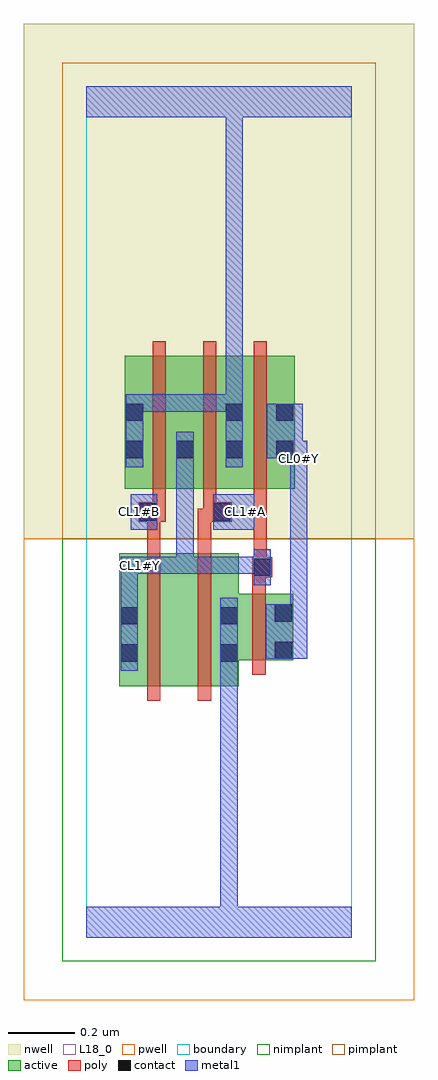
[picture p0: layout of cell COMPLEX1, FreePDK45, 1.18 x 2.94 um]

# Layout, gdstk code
import gdstk
lib = gdstk.Library(unit=1e-6, precision=1e-09)
def R(c, l, rs):  # rectangles x0, y0, x1, y1
    for r in rs: c.add(gdstk.rectangle(r[:2], r[2:], *l))
def A(c, l, x, y, w, h, nx, ny, dx, dy):  # array of equal rectangles
    R(c, l, [(x+i*dx, y+j*dy, x+i*dx+w, y+j*dy+h) for i in range(nx) for j in range(ny)])
active = (1, 0)
pwell = (2, 0)
nwell = (3, 0)
nimplant = (4, 0)
pimplant = (5, 0)
poly = (9, 0)
contact = (10, 0)
metal1 = (11, 0)
L18_0 = (18, 0)
boundary = (235, 0)

complex1 = lib.new_cell('COMPLEX1')
R(complex1, active, [(0.1,0.756,0.28,1.156), (0.1,0.756,0.16,1.156), (0.28,0.756,0.46,1.156), (0.4,0.756,0.46,0.998), (0.4,0.834,0.624,1.034), (0.564,0.834,0.624,1.034), (0.116,1.35,0.176,1.644), (0.116,1.35,0.328,1.75), (0.268,1.35,0.328,1.644), (0.268,1.35,0.476,1.75), (0.416,1.35,0.476,1.75), (0.416,1.35,0.628,1.75), (0.568,1.35,0.628,1.644)])
R(complex1, pwell, [(-0.188,-0.188,0.988,1.2)])
R(complex1, nwell, [(-0.188,1.2,0.988,2.748)])
R(complex1, nimplant, [(-0.072,-0.072,0.872,1.2)])
R(complex1, pimplant, [(-0.072,1.2,0.872,2.632)])
A(complex1, poly, 0.2, 1.306, 0.04, 0.488, 3, 1, 0.152, 0)
R(complex1, poly, [(0.184,0.712,0.224,1.2), (0.336,0.712,0.376,1.2), (0.5,0.79,0.54,1.078), (0.5,1.038,0.54,1.124), (0.5,1.084,0.56,1.144), (0.504,1.104,0.544,1.346), (0.504,1.104,0.544,1.144), (0.504,1.104,0.544,1.144), (0.184,1.16,0.224,1.29), (0.336,1.16,0.376,1.29), (0.158,1.25,0.24,1.31), (0.184,1.25,0.224,1.29), (0.184,1.25,0.224,1.29), (0.336,1.25,0.392,1.29), (0.352,1.25,0.392,1.29), (0.352,1.25,0.438,1.31), (0.2,1.27,0.24,1.346), (0.352,1.27,0.392,1.346)])
R(complex1, contact, [(0.104,0.83,0.156,0.882), (0.404,0.83,0.456,0.882), (0.568,0.838,0.62,0.89), (0.104,0.942,0.156,0.994), (0.404,0.942,0.456,0.994), (0.568,0.95,0.62,1.002), (0.504,1.088,0.556,1.14), (0.162,1.254,0.214,1.306), (0.382,1.254,0.434,1.306), (0.12,1.442,0.172,1.494), (0.272,1.442,0.324,1.494), (0.42,1.442,0.472,1.494), (0.572,1.442,0.624,1.494), (0.12,1.554,0.172,1.606), (0.42,1.554,0.472,1.606), (0.572,1.554,0.624,1.606)])
R(complex1, metal1, [(0,0,0.8,0.092), (0.404,0.04,0.456,0.092), (0.404,0.04,0.456,0.092), (0.404,0.04,0.456,0.092), (0.404,0.04,0.456,0.092), (0.404,0.04,0.456,0.092), (0.404,0.04,0.456,0.092), (0.404,0.04,0.456,0.854), (0.104,0.802,0.156,1.022), (0.404,0.802,0.456,0.854), (0.404,0.802,0.456,0.854), (0.404,0.802,0.456,0.854), (0.404,0.802,0.456,0.854), (0.404,0.802,0.456,0.854), (0.404,0.802,0.456,0.854), (0.404,0.802,0.456,1.022), (0.54,0.838,0.666,1.002), (0.614,0.95,0.666,1.438), (0.104,0.97,0.156,1.146), (0.504,1.06,0.556,1.168), (0.104,1.094,0.214,1.146), (0.162,1.094,0.214,1.146), (0.162,1.094,0.214,1.146), (0.162,1.094,0.324,1.146), (0.272,1.094,0.324,1.146), (0.272,1.094,0.324,1.146), (0.272,1.094,0.324,1.146), (0.272,1.094,0.456,1.146), (0.272,1.094,0.324,1.466), (0.404,1.094,0.456,1.146), (0.404,1.094,0.556,1.146), (0.134,1.226,0.214,1.334), (0.382,1.226,0.506,1.334), (0.614,1.386,0.666,1.494), (0.12,1.414,0.172,1.634), (0.272,1.414,0.324,1.466), (0.272,1.414,0.324,1.466), (0.272,1.414,0.324,1.522), (0.42,1.414,0.472,1.634), (0.544,1.442,0.652,1.606), (0.6,1.442,0.652,1.494), (0.6,1.442,0.666,1.494), (0.614,1.442,0.666,1.494), (0.12,1.582,0.172,1.634), (0.12,1.582,0.172,1.634), (0.12,1.582,0.346,1.634), (0.294,1.582,0.346,1.634), (0.294,1.582,0.346,1.634), (0.294,1.582,0.346,1.634), (0.294,1.582,0.472,1.634), (0.42,1.582,0.472,1.634), (0.42,1.582,0.472,1.634), (0.42,1.582,0.472,1.634), (0.42,1.582,0.472,1.634), (0.42,1.582,0.472,1.634), (0.42,1.582,0.472,1.634), (0.42,1.582,0.472,1.634), (0.42,1.582,0.472,1.634), (0.42,1.582,0.472,1.634), (0.42,1.582,0.472,1.634), (0.42,1.582,0.472,1.634), (0.42,1.582,0.472,1.634), (0.42,1.582,0.472,1.634), (0.42,1.582,0.472,1.634), (0.42,1.582,0.472,1.634), (0.42,1.582,0.472,1.634), (0.42,1.582,0.472,2.52), (0,2.468,0.8,2.56)])
R(complex1, L18_0, [(0,0,0.8,0.092), (0.404,0.04,0.456,0.092), (0.404,0.04,0.456,0.092), (0.404,0.04,0.456,0.092), (0.404,0.04,0.456,0.092), (0.404,0.04,0.456,0.092), (0.404,0.04,0.456,0.092), (0.404,0.04,0.456,0.854), (0.104,0.802,0.156,1.022), (0.404,0.802,0.456,1.022), (0.404,0.802,0.456,0.854), (0.404,0.802,0.456,0.854), (0.404,0.802,0.456,0.854), (0.404,0.802,0.456,0.854), (0.404,0.802,0.456,0.854), (0.404,0.802,0.456,0.854), (0.54,0.838,0.666,1.002), (0.614,0.95,0.666,1.438), (0.104,0.97,0.156,1.146), (0.504,1.06,0.556,1.168), (0.104,1.094,0.214,1.146), (0.134,1.094,0.186,1.146), (0.162,1.094,0.214,1.146), (0.162,1.094,0.214,1.146), (0.162,1.094,0.324,1.146), (0.272,1.094,0.324,1.146), (0.272,1.094,0.324,1.146), (0.272,1.094,0.324,1.146), (0.272,1.094,0.324,1.466), (0.272,1.094,0.456,1.146), (0.404,1.094,0.456,1.146), (0.404,1.094,0.556,1.146), (0.134,1.226,0.214,1.334), (0.382,1.226,0.506,1.334), (0.134,1.254,0.186,1.306), (0.454,1.254,0.506,1.306), (0.614,1.386,0.666,1.494), (0.12,1.414,0.172,1.634), (0.272,1.414,0.324,1.466), (0.272,1.414,0.324,1.466), (0.272,1.414,0.324,1.522), (0.42,1.414,0.472,1.634), (0.614,1.414,0.666,1.466), (0.544,1.442,0.652,1.606), (0.6,1.442,0.652,1.494), (0.6,1.442,0.666,1.494), (0.614,1.442,0.666,1.494), (0.12,1.582,0.172,1.634), (0.12,1.582,0.172,1.634), (0.12,1.582,0.346,1.634), (0.294,1.582,0.346,1.634), (0.294,1.582,0.346,1.634), (0.294,1.582,0.346,1.634), (0.294,1.582,0.472,1.634), (0.42,1.582,0.472,1.634), (0.42,1.582,0.472,1.634), (0.42,1.582,0.472,1.634), (0.42,1.582,0.472,1.634), (0.42,1.582,0.472,1.634), (0.42,1.582,0.472,1.634), (0.42,1.582,0.472,1.634), (0.42,1.582,0.472,1.634), (0.42,1.582,0.472,1.634), (0.42,1.582,0.472,1.634), (0.42,1.582,0.472,1.634), (0.42,1.582,0.472,1.634), (0.42,1.582,0.472,1.634), (0.42,1.582,0.472,1.634), (0.42,1.582,0.472,1.634), (0.42,1.582,0.472,1.634), (0.42,1.582,0.472,2.52), (0,2.468,0.8,2.56)])
R(complex1, boundary, [(0,0,0.8,2.56)])
complex1.add(gdstk.Label('CL0#Y', (0.64,1.44), layer=11, texttype=0))
complex1.add(gdstk.Label('CL1#A', (0.48,1.28), layer=11, texttype=0))
complex1.add(gdstk.Label('CL1#B', (0.16,1.28), layer=11, texttype=0))
complex1.add(gdstk.Label('CL1#Y', (0.16,1.12), layer=11, texttype=0))

lib.write_gds('COMPLEX1.gds')
